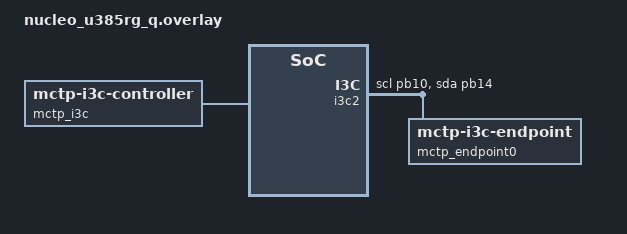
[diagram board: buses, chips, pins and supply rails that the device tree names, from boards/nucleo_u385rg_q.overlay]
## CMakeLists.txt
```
# SPDX-License-Identifier: Apache-2.0

cmake_minimum_required(VERSION 3.20.0)
find_package(Zephyr REQUIRED HINTS $ENV{ZEPHYR_BASE})
project(dmc_pldm_mctp_transport_test)

target_include_directories(app PRIVATE
    ${CMAKE_CURRENT_LIST_DIR}/include
)
target_sources(app PRIVATE src/main.c src/testbench.c)
```

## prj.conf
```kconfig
CONFIG_ZTEST=y
CONFIG_DEBUG_OPTIMIZATIONS=y
CONFIG_FRAME_POINTER=y
CONFIG_DEBUG_THREAD_INFO=y
CONFIG_THREAD_NAME=y

CONFIG_MAIN_STACK_SIZE=8192
CONFIG_ZTEST_STACK_SIZE=8192
CONFIG_HEAP_MEM_POOL_SIZE=16384

CONFIG_GPIO=y
CONFIG_I2C=y
CONFIG_I2C_TARGET=y
CONFIG_SMBUS=y
CONFIG_SMBUS_TARGET=y
CONFIG_SPI=y
CONFIG_MFD=y
CONFIG_PWM=y
CONFIG_SENSOR=y
CONFIG_CRC=y

CONFIG_EMUL=y
CONFIG_I2C_EMUL=y
CONFIG_GPIO_EMUL=y
CONFIG_SMBUS_EMUL=y

CONFIG_TT_BH_ARC=y
CONFIG_TT_BH_ARC_EMUL=y
CONFIG_CLOCK_CONTROL=y
CONFIG_CLOCK_CONTROL_EMUL=y
CONFIG_SENSOR_ASYNC_API=y
CONFIG_WATCHDOG=y
CONFIG_WDT_TT_BH=y

CONFIG_I3C=y
CONFIG_I3C_USE_IBI=n
CONFIG_I3C_LOG_LEVEL_OFF=y

CONFIG_MCTP=y
CONFIG_PLDM=y
CONFIG_PMCI_PLDM_OEM=y
CONFIG_MCTP_I3C_CONTROLLER=y
CONFIG_MCTP_I3C_TARGET=y
CONFIG_MCTP_I3C_CONTROLLER_POLLING=y
CONFIG_MCTP_I3C_CONTROLLER_POLL_INTERVAL_MS=100
CONFIG_MCTP_HEAP_SIZE=12288

CONFIG_TT_PMCI_PLDM_MCTP_RESPONDER=y
CONFIG_TT_PMCI_PLDM_SHELL=y

CONFIG_SHELL=y
CONFIG_SHELL_BACKEND_DUMMY=y
CONFIG_KERNEL_SHELL=y
```

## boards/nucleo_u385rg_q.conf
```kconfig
# Keep shell available for invoking the existing dmc_mctp_test command in ztest.
CONFIG_CONSOLE=y
CONFIG_SERIAL=y
CONFIG_UART_CONSOLE=y
```

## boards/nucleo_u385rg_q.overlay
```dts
/*
 * Copyright (c) 2026 Intel Corporation
 *
 * SPDX-License-Identifier: Apache-2.0
 */

#include "../../../../../app/dmc/boards/nucleo_u385rg_q.overlay"

&i2c2 {
	status = "disabled";
};

&i3c2 {
	zephyr,deferred-init;
	pinctrl-0 = <&i3c2_scl_pb10 &i3c2_sda_pb14>;
	pinctrl-names = "default";
	status = "okay";
	i3c-scl-hz = <1000000>;
	i2c-scl-hz = <400000>;

	mctp_endpoint0: mctp_endpoint0@20813818000 {
		zephyr,deferred-init;
		compatible = "zephyr,mctp-i3c-endpoint";
		reg = <0x0000 0x0208 0x13818000>;
		status = "okay";
	};
};

/ {
	mctp_i3c: mctp_i3c {
		compatible = "zephyr,mctp-i3c-controller";
		endpoints = <&mctp_endpoint0>;
		endpoint-ids = <11>;
	};
};

i3c_controller: &i3c2 {};
```

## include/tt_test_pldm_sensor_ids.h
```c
/*
 * Copyright (c) 2026 Tenstorrent AI ULC
 *
 * SPDX-License-Identifier: Apache-2.0
 */

#ifndef TT_TEST_PLDM_SENSOR_IDS_H_
#define TT_TEST_PLDM_SENSOR_IDS_H_

#define BH_PLDM_SENSOR_ID_ASIC_TEMP 0
#define BH_PLDM_SENSOR_ID_TDP       1

#endif /* TT_TEST_PLDM_SENSOR_IDS_H_ */
```

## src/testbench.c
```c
/*
 * Copyright (c) 2026 Tenstorrent AI ULC
 *
 * SPDX-License-Identifier: Apache-2.0
 */

#include <zephyr/kernel.h>
#include <zephyr/sys/byteorder.h>
#include <zephyr/sys/util.h>

#include <libmctp.h>
#include <libpldm/base.h>
#include <libpldm/platform.h>
#include <zephyr/drivers/smbus.h>
#include <zephyr/pmci/mctp/mctp_i3c_controller.h>

#include <errno.h>
#include <stdbool.h>
#include <stddef.h>
#include <stdint.h>
#include <string.h>
#include <zephyr/sys/printk.h>
#include <zephyr/ztest.h>

#include "testbench.h"

bool dmc_mctp_transport_ready(void);

MCTP_I3C_CONTROLLER_DT_DEFINE(dmc_mctp_i3c_ctrl, DT_NODELABEL(mctp_i3c));

#define DMC_MCTP_LOCAL_EID     20U
#define DMC_MCTP_TARGET_EID    11U
#define DMC_MCTP_MSG_TYPE_PLDM 0x01U

#define pldm_error(fmt, ...) printk("PLDM ERROR: " fmt "\n", ##__VA_ARGS__)

/* Transport globals */
static struct mctp *mctp_controller_ctx;

static volatile uint32_t dmc_mctp_rx_count;
static volatile size_t dmc_mctp_last_rx_len;
static uint8_t dmc_mctp_last_rx_data[96];
static volatile size_t dmc_mctp_last_rx_data_len;

/* Shared response scratch space used by all tests in this suite. */
uint8_t g_rx_buf[96];
size_t g_rx_len;
const struct pldm_msg *g_resp;
size_t g_resp_pldm_payload_len;

static void dmc_mctp_transport_test_record_rx(const void *msg, size_t len);

static int dmc_device_init_if_needed(const struct device *dev, const char *name)
{
	int rc;

	rc = device_init(dev);
	if (rc == 0 || rc == -EALREADY) {
		return 0;
	}

	ARG_UNUSED(name);
	return rc;
}

static void dmc_mctp_controller_rx_message(uint8_t eid, bool tag_owner, uint8_t msg_tag, void *data,
					   void *msg, size_t len)
{
	ARG_UNUSED(eid);
	ARG_UNUSED(tag_owner);
	ARG_UNUSED(msg_tag);
	ARG_UNUSED(data);

	dmc_mctp_transport_test_record_rx(msg, len);
}

int dmc_mctp_transport_test_controller_init(void)
{
	int rc;
	const struct device *i3c_controller = DEVICE_DT_GET(DT_NODELABEL(i3c2));
	const struct device *mctp_endpoint = DEVICE_DT_GET(DT_NODELABEL(mctp_endpoint0));
	const struct device *smbus = DEVICE_DT_GET(DT_NODELABEL(smbus0));

	if (mctp_controller_ctx != NULL) {
		return 0;
	}

	rc = dmc_device_init_if_needed(i3c_controller, "i3c controller");
	if (rc != 0) {
		for (int attempt = 1; rc == -EIO && attempt <= 5; attempt++) {
			k_msleep(10);
			rc = dmc_device_init_if_needed(i3c_controller, "i3c controller");
		}

		if (rc != 0) {
			return rc;
		}
	}

	rc = dmc_device_init_if_needed(mctp_endpoint, "mctp endpoint");
	if (rc != 0) {
		return rc;
	}

	rc = dmc_device_init_if_needed(smbus, "smbus");
	if (rc != 0) {
		return rc;
	}

	rc = smbus_configure(smbus, SMBUS_MODE_CONTROLLER | SMBUS_MODE_PEC);
	if (rc != 0) {
		return rc;
	}

	mctp_controller_ctx = mctp_init();
	if (mctp_controller_ctx == NULL) {
		return -ENOMEM;
	}

	rc = mctp_register_bus(mctp_controller_ctx, &dmc_mctp_i3c_ctrl.binding, DMC_MCTP_LOCAL_EID);
	if (rc != 0) {
		return rc;
	}

	mctp_set_rx_all(mctp_controller_ctx, dmc_mctp_controller_rx_message, NULL);

	return 0;
}

static int dmc_mctp_transport_test_send_raw(const void *buf, size_t len, bool tag_owner,
					    uint8_t msg_tag)
{
	if (!dmc_mctp_transport_ready() || mctp_controller_ctx == NULL) {
		return -ENODEV;
	}

	if (buf == NULL || len == 0U) {
		return -EINVAL;
	}

	return mctp_message_tx(mctp_controller_ctx, DMC_MCTP_TARGET_EID, tag_owner, msg_tag,
			       (void *)buf, len);
}

static void dmc_mctp_transport_test_record_rx(const void *msg, size_t len)
{
	unsigned int key;
	size_t copy_len = MIN(len, sizeof(dmc_mctp_last_rx_data));

	key = irq_lock();
	dmc_mctp_rx_count++;
	dmc_mctp_last_rx_len = len;
	dmc_mctp_last_rx_data_len = copy_len;
	memcpy(dmc_mctp_last_rx_data, msg, copy_len);
	irq_unlock(key);
}

void dmc_mctp_transport_rx_reset(void)
{
	unsigned int key;

	key = irq_lock();
	dmc_mctp_rx_count = 0U;
	dmc_mctp_last_rx_len = 0U;
	dmc_mctp_last_rx_data_len = 0U;
	irq_unlock(key);
}

uint32_t dmc_mctp_transport_rx_count_get(void)
{
	return dmc_mctp_rx_count;
}

size_t dmc_mctp_transport_last_rx_len_get(void)
{
	return dmc_mctp_last_rx_len;
}

size_t dmc_mctp_transport_last_rx_copy(uint8_t *buf, size_t buf_size)
{
	size_t copy_len = MIN(dmc_mctp_last_rx_data_len, buf_size);

	if (copy_len > 0U) {
		memcpy(buf, dmc_mctp_last_rx_data, copy_len);
	}

	return copy_len;
}

int dmc_mctp_transport_send_pldm_request(const void *pldm_req, size_t pldm_req_len)
{
	uint8_t tx_buf[1U + 64U];

	if (pldm_req == NULL || pldm_req_len == 0U) {
		return -EINVAL;
	}

	if (pldm_req_len > sizeof(tx_buf) - 1U) {
		return -EMSGSIZE;
	}

	tx_buf[0] = DMC_MCTP_MSG_TYPE_PLDM;
	memcpy(&tx_buf[1], pldm_req, pldm_req_len);

	return dmc_mctp_transport_test_send_raw(tx_buf, 1U + pldm_req_len, true, 0);
}

static void wait_for_pldm_response(uint8_t *rx_buf, size_t rx_buf_size, size_t *rx_len_out)
{
	int64_t deadline = k_uptime_get() + 500;

	do {
		if (dmc_mctp_transport_rx_count_get() > 0U) {
			unsigned int key;
			size_t rx_len;
			size_t rx_copy_len;

			key = irq_lock();
			rx_len = dmc_mctp_last_rx_len;
			rx_copy_len = MIN(dmc_mctp_last_rx_data_len, rx_buf_size);
			if (rx_copy_len > 0U) {
				memcpy(rx_buf, dmc_mctp_last_rx_data, rx_copy_len);
			}
			irq_unlock(key);

			zassert_true(rx_len >= 1U, "short RX len=%u", (unsigned int)rx_len);
			zassert_equal(rx_copy_len, rx_len, "RX truncation copied=%u total=%u",
				      (unsigned int)rx_copy_len, (unsigned int)rx_len);
			zassert_equal(rx_buf[0], DMC_MCTP_MSG_TYPE_PLDM,
				      "wrong MCTP msg type 0x%02x", rx_buf[0]);

			*rx_len_out = rx_len;
			return;
		}

		k_msleep(10);
	} while (k_uptime_get() < deadline);

	zassert_true(false, "timeout waiting for PLDM response");
}

void wait_for_pldm_response_view(void)
{
	wait_for_pldm_response(g_rx_buf, sizeof(g_rx_buf), &g_rx_len);
	g_resp = (const struct pldm_msg *)&g_rx_buf[1];
	g_resp_pldm_payload_len = (g_rx_len - 1U) - sizeof(struct pldm_msg_hdr);
}

void validate_response_header(const struct pldm_msg *req, const struct pldm_msg *resp,
			      uint8_t expected_cmd, uint8_t expected_pldm_type)
{
	struct pldm_header_info req_hdr;
	struct pldm_header_info resp_hdr;
	uint8_t cc;

	cc = unpack_pldm_header(&req->hdr, &req_hdr);
	zassert_equal(cc, PLDM_SUCCESS, "unpack req hdr rc=%u", cc);

	cc = unpack_pldm_header(&resp->hdr, &resp_hdr);
	zassert_equal(cc, PLDM_SUCCESS, "unpack resp hdr rc=%u", cc);

	zassert_true(resp_hdr.msg_type == PLDM_RESPONSE && resp_hdr.command == expected_cmd &&
			     resp_hdr.instance == req_hdr.instance &&
			     resp_hdr.pldm_type == expected_pldm_type,
		     "bad resp hdr type=%u cmd=%u inst=%u pldm_type=%u", resp_hdr.msg_type,
		     resp_hdr.command, resp_hdr.instance, resp_hdr.pldm_type);
}

void send_custom_pldm_request(uint8_t instance, uint8_t pldm_type, uint8_t cmd, const void *payload,
			      size_t payload_len)
{
	uint8_t req_buf[sizeof(struct pldm_msg_hdr) + 16U];
	struct pldm_msg *req = (struct pldm_msg *)req_buf;
	struct pldm_header_info hdr = {
		.msg_type = PLDM_REQUEST,
		.instance = instance,
		.pldm_type = pldm_type,
		.command = cmd,
	};
	uint8_t cc;
	int rc;

	zassert_true(payload_len <= sizeof(req_buf) - sizeof(struct pldm_msg_hdr),
		     "custom req payload too large len=%u max=%u", (unsigned int)payload_len,
		     (unsigned int)(sizeof(req_buf) - sizeof(struct pldm_msg_hdr)));

	cc = pack_pldm_header(&hdr, &req->hdr);
	zassert_equal(cc, PLDM_SUCCESS, "pack custom req hdr rc=%u", cc);

	if (payload_len > 0U && payload != NULL) {
		memcpy(req_buf + sizeof(struct pldm_msg_hdr), payload, payload_len);
	}

	dmc_mctp_transport_rx_reset();
	rc = dmc_mctp_transport_send_pldm_request(req, sizeof(struct pldm_msg_hdr) + payload_len);
	zassert_true(rc >= 0, "send custom req rc=%d", rc);
}

void validate_cc_only_response(const struct pldm_msg *resp, size_t resp_pldm_payload_len,
			       uint8_t expected_cc)
{
	const uint8_t *payload = (const uint8_t *)resp + sizeof(struct pldm_msg_hdr);

	zassert_equal(resp_pldm_payload_len, 1U, "expected cc-only payload len=1 got=%u",
		      (unsigned int)resp_pldm_payload_len);
	zassert_equal(payload[0], expected_cc, "wrong completion code got=%u expected=%u",
		      payload[0], expected_cc);
}

int send_get_tid_request(struct pldm_msg *req)
{
	int rc;

	rc = encode_get_tid_req(1U, req);
	if (rc != PLDM_SUCCESS) {
		pldm_error("FAIL: encode GetTID rc=%d", rc);
		return -EINVAL;
	}

	dmc_mctp_transport_rx_reset();
	rc = dmc_mctp_transport_send_pldm_request(req, sizeof(struct pldm_msg_hdr));
	if (rc < 0) {
		pldm_error("FAIL: send GetTID rc=%d", rc);
	}

	return rc;
}

int send_set_tid_request(struct pldm_msg *req, uint8_t instance_id, uint8_t tid)
{
	int rc;

	rc = encode_set_tid_req(instance_id, tid, req);
	if (rc != PLDM_SUCCESS) {
		pldm_error("FAIL: encode SetTID tid=%u rc=%d", tid, rc);
		return -EINVAL;
	}

	dmc_mctp_transport_rx_reset();
	rc = dmc_mctp_transport_send_pldm_request(req, sizeof(struct pldm_msg_hdr) +
							       PLDM_SET_TID_REQ_BYTES);
	if (rc < 0) {
		pldm_error("FAIL: send SetTID tid=%u rc=%d", tid, rc);
	}

	return rc;
}

int send_get_types_request(struct pldm_msg *req)
{
	int rc;

	rc = encode_get_types_req(2U, req);
	if (rc != PLDM_SUCCESS) {
		pldm_error("FAIL: encode GetPLDMTypes rc=%d", rc);
		return -EINVAL;
	}

	dmc_mctp_transport_rx_reset();
	rc = dmc_mctp_transport_send_pldm_request(req, sizeof(struct pldm_msg_hdr));
	if (rc < 0) {
		pldm_error("FAIL: send GetPLDMTypes rc=%d", rc);
	}

	return rc;
}

int send_get_version_request(struct pldm_msg *req)
{
	int rc;

	rc = encode_get_version_req(3U, 0U, PLDM_GET_FIRSTPART, PLDM_BASE, req);
	if (rc != PLDM_SUCCESS) {
		pldm_error("FAIL: encode GetPLDMVersion rc=%d", rc);
		return -EINVAL;
	}

	dmc_mctp_transport_rx_reset();
	rc = dmc_mctp_transport_send_pldm_request(req, sizeof(struct pldm_msg_hdr) +
							       PLDM_GET_VERSION_REQ_BYTES);
	if (rc < 0) {
		pldm_error("FAIL: send GetPLDMVersion rc=%d", rc);
	}

	return rc;
}

int send_get_version_request_for_type(struct pldm_msg *req, uint8_t instance_id,
				      uint8_t transfer_opflag, uint8_t pldm_type)
{
	int rc;

	rc = encode_get_version_req(instance_id, 0U, transfer_opflag, pldm_type, req);
	if (rc != PLDM_SUCCESS) {
		pldm_error("FAIL: encode GetPLDMVersion type=%u opflag=%u rc=%d", pldm_type,
			   transfer_opflag, rc);
		return -EINVAL;
	}

	dmc_mctp_transport_rx_reset();
	rc = dmc_mctp_transport_send_pldm_request(req, sizeof(struct pldm_msg_hdr) +
							       PLDM_GET_VERSION_REQ_BYTES);
	if (rc < 0) {
		pldm_error("FAIL: send GetPLDMVersion rc=%d", rc);
	}

	return rc;
}

int send_get_commands_request_for_type(struct pldm_msg *req, uint8_t instance_id, uint8_t pldm_type)
{
	int rc;

	rc = encode_get_commands_req(instance_id, pldm_type, (ver32_t){0}, req);
	if (rc != PLDM_SUCCESS) {
		pldm_error("FAIL: encode GetPLDMCommands type=%u rc=%d", pldm_type, rc);
		return -EINVAL;
	}

	dmc_mctp_transport_rx_reset();
	rc = dmc_mctp_transport_send_pldm_request(req, sizeof(struct pldm_msg_hdr) +
							       PLDM_GET_COMMANDS_REQ_BYTES);
	if (rc < 0) {
		pldm_error("FAIL: send GetPLDMCommands rc=%d", rc);
	}

	return rc;
}

int send_get_commands_request(struct pldm_msg *req)
{
	return send_get_commands_request_for_type(req, 4U, PLDM_BASE);
}

int send_get_pdr_repository_info_request(struct pldm_msg *req)
{
	int rc;

	rc = encode_get_pdr_repository_info_req(8U, req, 0U);
	if (rc != PLDM_SUCCESS) {
		pldm_error("FAIL: encode GetPDRRepositoryInfo rc=%d", rc);
		return -EINVAL;
	}

	dmc_mctp_transport_rx_reset();
	rc = dmc_mctp_transport_send_pldm_request(req, sizeof(struct pldm_msg_hdr));
	if (rc < 0) {
		pldm_error("FAIL: send GetPDRRepositoryInfo rc=%d", rc);
	}

	return rc;
}

int send_get_pdr_request(struct pldm_msg *req, uint8_t instance_id, uint32_t record_handle,
			 uint32_t data_transfer_handle, uint8_t transfer_op_flag,
			 uint16_t request_count, uint16_t record_change_number)
{
	int rc;

	rc = encode_get_pdr_req(instance_id, record_handle, data_transfer_handle, transfer_op_flag,
				request_count, record_change_number, req, PLDM_GET_PDR_REQ_BYTES);
	if (rc != PLDM_SUCCESS) {
		pldm_error("FAIL: encode GetPDR rc=%d", rc);
		return -EINVAL;
	}

	dmc_mctp_transport_rx_reset();
	rc = dmc_mctp_transport_send_pldm_request(req, sizeof(struct pldm_msg_hdr) +
							       PLDM_GET_PDR_REQ_BYTES);
	if (rc < 0) {
		pldm_error("FAIL: send GetPDR rc=%d", rc);
	}

	return rc;
}

int send_get_sensor_reading_request(struct pldm_msg *req, uint8_t instance_id, uint16_t sensor_id,
				    bool8_t rearm_event_state)
{
	int rc;

	rc = encode_get_sensor_reading_req(instance_id, sensor_id, rearm_event_state, req);
	if (rc != PLDM_SUCCESS) {
		pldm_error("FAIL: encode GetSensorReading sensor=%u rc=%d", sensor_id, rc);
		return -EINVAL;
	}

	dmc_mctp_transport_rx_reset();
	rc = dmc_mctp_transport_send_pldm_request(req, sizeof(struct pldm_msg_hdr) +
							       PLDM_GET_SENSOR_READING_REQ_BYTES);
	if (rc < 0) {
		pldm_error("FAIL: send GetSensorReading sensor=%u rc=%d", sensor_id, rc);
	}

	return rc;
}

int send_oem_shell_exec_request(struct pldm_msg *req, uint8_t instance_id, uint16_t request_id,
				const char *cmd)
{
	struct pldm_header_info hdr = {
		.msg_type = PLDM_REQUEST,
		.instance = instance_id,
		.pldm_type = TT_PLDM_OEM_TYPE,
		.command = TT_PLDM_OEM_CMD_SHELL_EXEC,
	};
	uint8_t cc;
	size_t cmd_len;
	size_t req_pldm_len;
	int rc;

	if (cmd == NULL) {
		return -EINVAL;
	}

	cmd_len = strlen(cmd);
	if (cmd_len == 0U || cmd_len > UINT8_MAX) {
		return -EMSGSIZE;
	}

	cc = pack_pldm_header(&hdr, &req->hdr);
	if (cc != PLDM_SUCCESS) {
		return -EINVAL;
	}

	sys_put_le16(request_id, &req->payload[0]);
	req->payload[2] = (uint8_t)cmd_len;
	memcpy(&req->payload[3], cmd, cmd_len);

	req_pldm_len = sizeof(struct pldm_msg_hdr) + 3U + cmd_len;
	dmc_mctp_transport_rx_reset();
	rc = dmc_mctp_transport_send_pldm_request(req, req_pldm_len);
	if (rc < 0) {
		pldm_error("FAIL: send OEM shell exec rc=%d", rc);
	}

	return rc;
}

int send_oem_shell_get_result_request(struct pldm_msg *req, uint8_t instance_id,
				      uint16_t request_id, uint16_t offset, uint8_t max_read_len)
{
	struct pldm_header_info hdr = {
		.msg_type = PLDM_REQUEST,
		.instance = instance_id,
		.pldm_type = TT_PLDM_OEM_TYPE,
		.command = TT_PLDM_OEM_CMD_SHELL_GET_RESULT,
	};
	uint8_t cc;
	int rc;

	cc = pack_pldm_header(&hdr, &req->hdr);
	if (cc != PLDM_SUCCESS) {
		return -EINVAL;
	}

	sys_put_le16(request_id, &req->payload[0]);
	sys_put_le16(offset, &req->payload[2]);
	req->payload[4] = max_read_len;

	dmc_mctp_transport_rx_reset();
	rc = dmc_mctp_transport_send_pldm_request(req, sizeof(struct pldm_msg_hdr) + 5U);
	if (rc < 0) {
		pldm_error("FAIL: send OEM shell get-result rc=%d", rc);
	}

	return rc;
}
```

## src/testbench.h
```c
/*
 * Copyright (c) 2026 Tenstorrent AI ULC
 *
 * SPDX-License-Identifier: Apache-2.0
 */

#ifndef TESTBENCH_H
#define TESTBENCH_H

#include <stddef.h>
#include <stdint.h>
#include <stdbool.h>
#include <libpldm/base.h>

#define TT_PLDM_OEM_TYPE                 0x3FU
#define TT_PLDM_OEM_CMD_SHELL_EXEC       0x01U
#define TT_PLDM_OEM_CMD_SHELL_GET_RESULT 0x02U
#define TT_PLDM_OEM_CMD_SHELL_CANCEL     0x03U

bool dmc_mctp_transport_ready(void);
uint32_t ConvertFloatToTelemetry(float value);
void UpdateTelemetryTag(uint16_t tag, uint32_t value);

/* Transport globals accessible to tests */
extern uint8_t g_rx_buf[96];
extern size_t g_rx_len;
extern const struct pldm_msg *g_resp;
extern size_t g_resp_pldm_payload_len;

/* Transport helpers */
void dmc_mctp_transport_rx_reset(void);
uint32_t dmc_mctp_transport_rx_count_get(void);
size_t dmc_mctp_transport_last_rx_len_get(void);
size_t dmc_mctp_transport_last_rx_copy(uint8_t *buf, size_t buf_size);

int dmc_mctp_transport_send_pldm_request(const void *pldm_req, size_t pldm_req_len);

/* Response waiting and validation */
void wait_for_pldm_response_view(void);
void validate_response_header(const struct pldm_msg *req, const struct pldm_msg *resp,
			      uint8_t expected_cmd, uint8_t expected_pldm_type);
void validate_cc_only_response(const struct pldm_msg *resp, size_t resp_pldm_payload_len,
			       uint8_t expected_cc);

/* Request senders */
int send_get_tid_request(struct pldm_msg *req);
int send_set_tid_request(struct pldm_msg *req, uint8_t instance_id, uint8_t tid);
int send_get_types_request(struct pldm_msg *req);
int send_get_version_request(struct pldm_msg *req);
int send_get_version_request_for_type(struct pldm_msg *req, uint8_t instance_id,
				      uint8_t transfer_opflag, uint8_t pldm_type);
int send_get_commands_request_for_type(struct pldm_msg *req, uint8_t instance_id,
				       uint8_t pldm_type);
int send_get_commands_request(struct pldm_msg *req);
int send_get_pdr_repository_info_request(struct pldm_msg *req);
int send_get_pdr_request(struct pldm_msg *req, uint8_t instance_id, uint32_t record_handle,
			 uint32_t data_transfer_handle, uint8_t transfer_op_flag,
			 uint16_t request_count, uint16_t record_change_number);
int send_get_sensor_reading_request(struct pldm_msg *req, uint8_t instance_id, uint16_t sensor_id,
				    bool8_t rearm_event_state);
int send_oem_shell_exec_request(struct pldm_msg *req, uint8_t instance_id, uint16_t request_id,
				const char *cmd);
int send_oem_shell_get_result_request(struct pldm_msg *req, uint8_t instance_id,
				      uint16_t request_id, uint16_t offset, uint8_t max_read_len);
void send_custom_pldm_request(uint8_t instance, uint8_t pldm_type, uint8_t cmd, const void *payload,
			      size_t payload_len);

/* Controller initialization */
int dmc_mctp_transport_test_controller_init(void);

#endif /* TESTBENCH_H */
```
